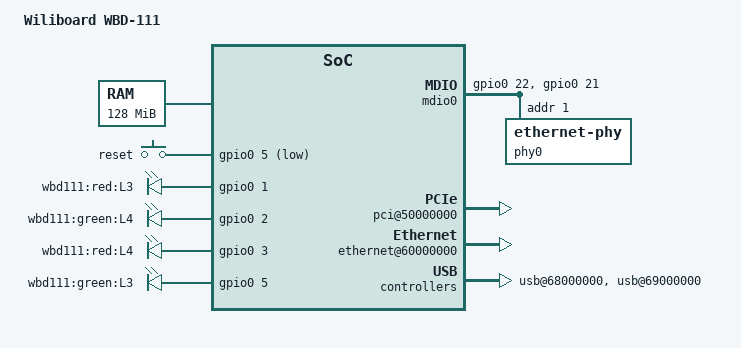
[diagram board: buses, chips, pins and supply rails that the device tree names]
// SPDX-License-Identifier: GPL-2.0
/*
 * Device Tree file for Wiliboard WBD-111
 */

/dts-v1/;

#include "gemini.dtsi"
#include <dt-bindings/input/input.h>

/ {
	model = "Wiliboard WBD-111";
	compatible = "wiliboard,wbd111", "cortina,gemini";
	#address-cells = <1>;
	#size-cells = <1>;

	memory@0 {
		/* 128 MB */
		device_type = "memory";
		reg = <0x00000000 0x8000000>;
	};

	chosen {
		bootargs = "console=ttyS0,115200n8";
		stdout-path = &uart0;
	};

	gpio_keys {
		compatible = "gpio-keys";

		button-setup {
			debounce-interval = <100>;
			wakeup-source;
			linux,code = <KEY_SETUP>;
			label = "reset";
			/* Conflict with ICE */
			gpios = <&gpio0 5 GPIO_ACTIVE_LOW>;
		};
	};

	leds {
		compatible = "gpio-leds";

		led-red-l3 {
			label = "wbd111:red:L3";
			/* Conflict with TVC and extended parallel flash */
			gpios = <&gpio0 1 GPIO_ACTIVE_HIGH>;
			default-state = "off";
		};
		led-green-l4 {
			label = "wbd111:green:L4";
			/* Conflict with TVC and extended parallel flash */
			gpios = <&gpio0 2 GPIO_ACTIVE_HIGH>;
			default-state = "off";
		};
		led-red-l4 {
			label = "wbd111:red:L4";
			/* Conflict with TVC and extended parallel flash */
			gpios = <&gpio0 3 GPIO_ACTIVE_HIGH>;
			default-state = "off";
		};
		led-greeb-l3 {
			label = "wbd111:green:L3";
			/* Conflict with TVC and extended parallel flash */
			gpios = <&gpio0 5 GPIO_ACTIVE_HIGH>;
			default-state = "on";
			linux,default-trigger = "heartbeat";
		};
	};

	mdio0: mdio {
		compatible = "virtual,mdio-gpio";
		gpios = <&gpio0 22 GPIO_ACTIVE_HIGH>, /* MDC */
			<&gpio0 21 GPIO_ACTIVE_HIGH>; /* MDIO */
		#address-cells = <1>;
		#size-cells = <0>;

		phy0: ethernet-phy@1 {
			reg = <1>;
			device_type = "ethernet-phy";
		};
	};

	soc {
		flash@30000000 {
			status = "okay";
			/* 8MB of flash */
			reg = <0x30000000 0x00800000>;

			partition@0 {
				label = "RedBoot";
				reg = <0x00000000 0x00020000>;
				read-only;
			};
			partition@20000 {
				label = "kernel";
				reg = <0x00020000 0x00100000>;
			};
			partition@120000 {
				label = "rootfs";
				reg = <0x00120000 0x006a0000>;
			};
			partition@7c0000 {
				label = "VCTL";
				reg = <0x007c0000 0x00010000>;
				read-only;
			};
			partition@7d0000 {
				label = "cfg";
				reg = <0x007d0000 0x00010000>;
				read-only;
			};
			partition@7e0000 {
				label = "FIS";
				reg = <0x007e0000 0x00010000>;
				read-only;
			};
		};

		syscon: syscon@40000000 {
			pinctrl {
				/*
				 * gpio0agrp cover line 0-4
				 * gpio0bgrp cover line 5
				 */
				gpio0_default_pins: pinctrl-gpio0 {
					mux {
						function = "gpio0";
						groups = "gpio0agrp",
						"gpio0bgrp";
					};
				};
			};
		};

		gpio0: gpio@4d000000 {
			pinctrl-names = "default";
			pinctrl-0 = <&gpio0_default_pins>;
		};

		pci@50000000 {
			status = "okay";
		};

		ethernet@60000000 {
			status = "okay";

			ethernet-port@0 {
				phy-mode = "rgmii";
				phy-handle = <&phy0>;
			};
			ethernet-port@1 {
				/* Not used in this platform */
			};
		};

		usb@68000000 {
			status = "okay";
		};

		usb@69000000 {
			status = "okay";
		};
	};
};
